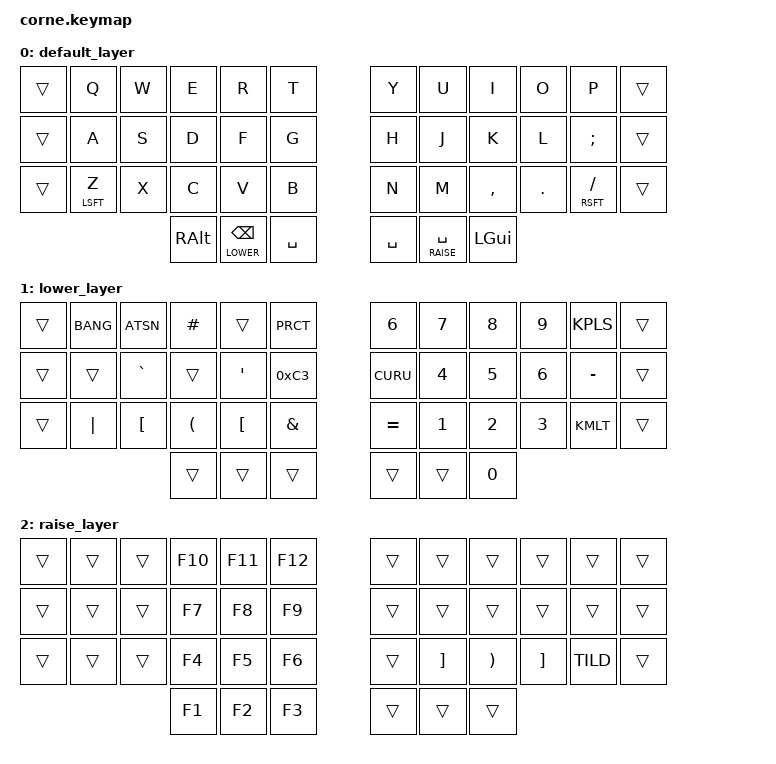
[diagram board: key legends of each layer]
/*
 * Copyright (c) 2020 The ZMK Contributors
 *
 * SPDX-License-Identifier: MIT
 */

#include <behaviors.dtsi>
#include <dt-bindings/zmk/keys.h>
#include <dt-bindings/zmk/bt.h>
    
#define DEFAULT 0
#define LOWER   1
#define RAISE   2
/ {
        keymap {
                compatible = "zmk,keymap";

                default_layer {
// -----------------------------------------------------------------------------------------
// |      |  Q  |  W  |  E  |  R  |  T  |   |  Y  |  U   |  I  |  O  |  P  |      |
// |      |  A  |  S  |  D  |  F  |  G  |   |  H  |  J   |  K  |  L  |  ;  |      |
// |      | S(Z)|  X  |  C  |  V  |  B  |   |  N  |  M   |  ,  |  .  | S(/)|      |
//                    | ALT | LWR | SPC |   | ENT | RSE  | GUI |
                        bindings = <
   &trans &kp Q      &kp W &kp E &kp R &kp T   &kp Y   &kp U  &kp I    &kp O   &kp P         &trans
   &trans &kp A      &kp S &kp D &kp F &kp G   &kp H   &kp J  &kp K    &kp L   &kp SCLN      &trans
   &trans &mt LSFT Z &kp X &kp C &kp V &kp B   &kp N   &kp M  &kp CMMA &kp DOT &mt RSFT FSLH &trans
                     &kp RALT &lt LOWER BKSP &kp SPC   &kp SPC &lt RAISE SPC &kp LGUI
                        >;  
                };
                lower_layer {          
// -----------------------------------------------------------------------------------------
// |      |  !  |  @  |  #  |  _  |  %  |   |  6  |  7  |  8  |  9  |  +  |      |
// |      |     | `   |  "  |  '  |  ^  |   |  $  |  4  |  5  |  6  |  -  |      |
// |      |  |  |  [  |  {  |  (  |  &  |   |  =  |  1  |  2  |  3  |  *  |      |
//                    | GUI |     |     |   |     |     |  0  |
                        bindings = <
   &trans &kp BANG &kp ATSN &kp HASH &trans    &kp PRCT    &kp NUM_6 &kp NUM_7 &kp NUM_8 &kp NUM_9 &kp KPLS  &trans
   &trans &trans   &kp GRAV &trans   &kp QUOT  &kp 0xC3    &kp CURU  &kp NUM_4 &kp NUM_5 &kp NUM_6 &kp MINUS &trans
   &trans &kp PIPE &kp LBKT &kp LPRN &kp LBKT  &kp AMPS    &kp EQL   &kp NUM_1 &kp NUM_2 &kp NUM_3 &kp KMLT  &trans
                            &trans   &trans    &trans      &trans    &trans    &kp NUM_0
                        >;
                };
                raise_layer {
// -----------------------------------------------------------------------------------------
// |      |     |     | F10 | F11 | F12 |   |     |     |     |     |      |     |
// |      |     |     | F7  | F8  | F9  |   |     |     |     |     |      |     |
// |      |     |     | F4  | F5  | F6  |   |     |  )  |  }  |  ]  |  ~   |     |  
//                    | F1  | F2  | F3  |   |     |     |     |
                        bindings = <
   &trans &trans  &trans  &kp F10 &kp F11 &kp F12   &trans &trans   &trans   &trans   &trans   &trans
   &trans &trans  &trans  &kp F7  &kp F8  &kp F9    &trans &trans   &trans   &trans   &trans   &trans
   &trans &trans  &trans  &kp F4  &kp F5  &kp F6    &trans &kp RBKT &kp RPRN &kp RBKT &kp TILD &trans
                          &kp F1  &kp F2  &kp F3    &trans &trans   &trans
                        >;
                };
        };
};   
